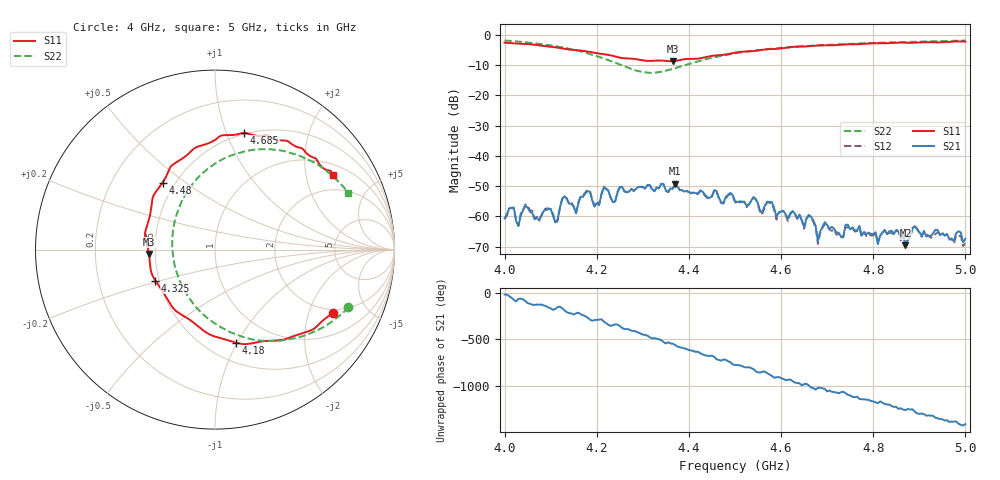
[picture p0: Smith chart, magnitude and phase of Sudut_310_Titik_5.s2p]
# Hz S RI R 50
! CMT, C1220, 16058040, 17.2.0/1
! Date: 15/08/2018 12:23:47
! Data: Format (Calibration Info)
! Freq  S11: Re/Im (F2)  S21: Re/Im (F2)  S12: Re/Im (F2)  S22: Re/Im (F2)
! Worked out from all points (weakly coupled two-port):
!   201 points, 4 GHz to 5 GHz, reference 50 ohm
!   highest |S21| = -49.17 dB at 4.37 GHz (marker M1); lowest = -69.5 dB at 4.87 GHz (marker M2)
!   lowest |S11| = -8.7 dB at 4.365 GHz (marker M3), VSWR 2.16, Z = 23.1 - j1.27 ohm
!   |S11| at or under -10 dB: nowhere
!   |S22| runs from -12.5 to -1.8 dB; largest |S21 - S12| = 0.00016
!   S11 on the Smith chart (normalised r, x): 4 GHz: 1.82, -2.90; 4.18 GHz: 0.69, -0.99; 4.325 GHz: 0.48, -0.19; 4.48 GHz: 0.43, +0.41; 4.685 GHz: 0.49, +1.16; 5 GHz: 1.36, +2.86
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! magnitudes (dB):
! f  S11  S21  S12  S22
! 4 GHz  -2.6  -60.7  -60.9  -1.8
! 4.02 GHz  -2.8  -57.1  -57.4  -2.1
! 4.03 GHz  -2.9  -63.2  -63.2  -2.2
! 4.045 GHz  -3.0  -56.5  -56.1  -2.4
! 4.11 GHz  -4.1  -62.0  -62.0  -3.7
! 4.13 GHz  -4.6  -53.3  -53.5  -4.3
! 4.155 GHz  -5.0  -59.0  -58.9  -5.1
! 4.17 GHz  -5.3  -53.6  -53.1  -5.7
! 4.18 GHz  -5.5  -51.7  -51.3  -6.1
! 4.195 GHz  -5.9  -56.8  -56.5  -6.8
! 4.325 GHz  -8.5  -51.7  -51.7  -12.5
! 4.335 GHz  -8.5  -50.8  -50.6  -12.3
! 4.365 GHz  -8.7  -50.9  -50.8  -11.2
! 4.37 GHz  -8.6  -49.2  -49.3  -11.0
! 4.48 GHz  -6.5  -53.6  -54.1  -6.6
! 4.5 GHz  -5.9  -55.0  -55.2  -6.1
! 4.67 GHz  -3.6  -61.3  -61.9  -3.5
! 4.685 GHz  -3.5  -64.9  -65.4  -3.4
! 4.835 GHz  -2.7  -64.9  -65.4  -2.5
! 4.87 GHz  -2.6  -69.5  -69.5  -2.3
! 4.89 GHz  -2.6  -63.2  -63.2  -2.2
! 5 GHz  -2.2  -67.4  -68.9  -1.9
